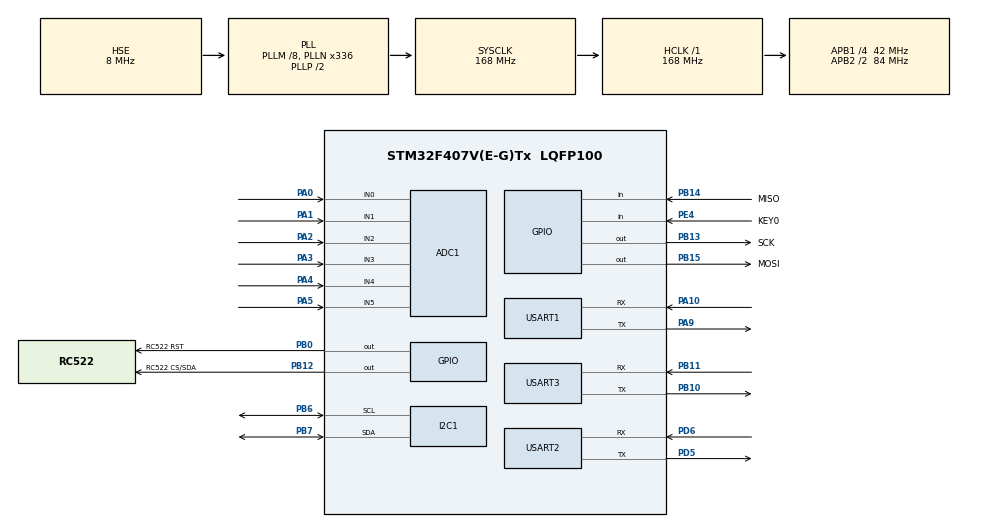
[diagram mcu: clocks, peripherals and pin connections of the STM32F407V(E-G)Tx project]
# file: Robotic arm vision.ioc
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ADC1.Channel-1\#ChannelRegularConversion=ADC_CHANNEL_0
ADC1.Channel-10\#ChannelRegularConversion=ADC_CHANNEL_4
ADC1.Channel-11\#ChannelRegularConversion=ADC_CHANNEL_5
ADC1.Channel-7\#ChannelRegularConversion=ADC_CHANNEL_1
ADC1.Channel-8\#ChannelRegularConversion=ADC_CHANNEL_2
ADC1.Channel-9\#ChannelRegularConversion=ADC_CHANNEL_3
ADC1.ContinuousConvMode=ENABLE
ADC1.DMAContinuousRequests=ENABLE
ADC1.EOCSelection=ADC_EOC_SEQ_CONV
ADC1.InjNumberOfConversion=0
ADC1.NbrOfConversion=6
ADC1.NbrOfConversionFlag=1
ADC1.Rank-1\#ChannelRegularConversion=1
ADC1.Rank-10\#ChannelRegularConversion=5
ADC1.Rank-11\#ChannelRegularConversion=6
ADC1.Rank-7\#ChannelRegularConversion=2
ADC1.Rank-8\#ChannelRegularConversion=3
ADC1.Rank-9\#ChannelRegularConversion=4
ADC1.SamplingTime-1\#ChannelRegularConversion=ADC_SAMPLETIME_84CYCLES
ADC1.SamplingTime-10\#ChannelRegularConversion=ADC_SAMPLETIME_84CYCLES
ADC1.SamplingTime-11\#ChannelRegularConversion=ADC_SAMPLETIME_84CYCLES
ADC1.SamplingTime-7\#ChannelRegularConversion=ADC_SAMPLETIME_84CYCLES
ADC1.SamplingTime-8\#ChannelRegularConversion=ADC_SAMPLETIME_84CYCLES
ADC1.SamplingTime-9\#ChannelRegularConversion=ADC_SAMPLETIME_84CYCLES
ADC1.master=1
Dma.ADC1.0.Direction=DMA_PERIPH_TO_MEMORY
Dma.ADC1.0.FIFOMode=DMA_FIFOMODE_DISABLE
Dma.ADC1.0.Instance=DMA2_Stream0
Dma.ADC1.0.MemDataAlignment=DMA_MDATAALIGN_HALFWORD
Dma.ADC1.0.MemInc=DMA_MINC_ENABLE
Dma.ADC1.0.Mode=DMA_CIRCULAR
Dma.ADC1.0.PeriphDataAlignment=DMA_PDATAALIGN_HALFWORD
Dma.ADC1.0.PeriphInc=DMA_PINC_DISABLE
Dma.ADC1.0.Priority=DMA_PRIORITY_LOW
Dma.Request0=ADC1
Mcu.Family=STM32F4
Mcu.Name=STM32F407V(E-G)Tx
Mcu.Package=LQFP100
NVIC.DMA2_Stream0_IRQn=true\:5\:0\:false\:false\:true\:true\:false\:true\:true
NVIC.PriorityGroup=NVIC_PRIORITYGROUP_4
NVIC.TIM6_DAC_IRQn=true\:15\:0\:false\:false\:true\:false\:false\:true\:true
NVIC.TimeBase=TIM6_DAC_IRQn
NVIC.TimeBaseIP=TIM6
PA0-WKUP.Signal=ADCx_IN0
PA1.Signal=ADCx_IN1
PA10.Mode=Asynchronous
PA10.Signal=USART1_RX
PA13.Mode=Serial_Wire
PA13.Signal=SYS_JTMS-SWDIO
PA14.Mode=Serial_Wire
PA14.Signal=SYS_JTCK-SWCLK
PA2.Signal=ADCx_IN2
PA3.Signal=ADCx_IN3
PA4.Signal=ADCx_IN4
PA5.Signal=ADCx_IN5
PA9.Mode=Asynchronous
PA9.Signal=USART1_TX
PB0.GPIO_Label=RC522 RST
PB0.Signal=GPIO_Output
PB10.Mode=Asynchronous
PB10.Signal=USART3_TX
PB11.Mode=Asynchronous
PB11.Signal=USART3_RX
PB12.GPIO_Label=RC522 CS/SDA
PB12.Signal=GPIO_Output
PB13.GPIO_Label=SCK
PB13.Signal=GPIO_Output
PB14.GPIO_Label=MISO
PB14.Signal=GPIO_Input
PB15.GPIO_Label=MOSI
PB15.Signal=GPIO_Output
PB6.Mode=I2C
PB6.Signal=I2C1_SCL
PB7.Mode=I2C
PB7.Signal=I2C1_SDA
PD5.Mode=Asynchronous
PD5.Signal=USART2_TX
PD6.Mode=Asynchronous
PD6.Signal=USART2_RX
PE4.GPIO_Label=KEY0
PE4.GPIO_PuPd=GPIO_PULLUP
PE4.Signal=GPIO_Input
PH0-OSC_IN.Mode=HSE-External-Oscillator
PH0-OSC_IN.Signal=RCC_OSC_IN
PH1-OSC_OUT.Mode=HSE-External-Oscillator
PH1-OSC_OUT.Signal=RCC_OSC_OUT
ProjectManager.HeapSize=0x200
ProjectManager.StackSize=0x400
ProjectManager.TargetToolchain=MDK-ARM V5
RCC.48MHZClocksFreq_Value=84000000
RCC.AHBFreq_Value=168000000
RCC.APB1CLKDivider=RCC_HCLK_DIV4
RCC.APB1Freq_Value=42000000
RCC.APB1TimFreq_Value=84000000
RCC.APB2CLKDivider=RCC_HCLK_DIV2
RCC.APB2Freq_Value=84000000
RCC.APB2TimFreq_Value=168000000
RCC.CortexFreq_Value=168000000
RCC.HCLKFreq_Value=168000000
RCC.HSE_VALUE=8000000
RCC.HSI_VALUE=16000000
RCC.LSE_VALUE=32768
RCC.PLLM=8
RCC.PLLN=336
RCC.PLLSourceVirtual=RCC_PLLSOURCE_HSE
RCC.SYSCLKFreq_VALUE=168000000
RCC.SYSCLKSource=RCC_SYSCLKSOURCE_PLLCLK
RCC.VCOOutputFreq_Value=336000000
SH.ADCx_IN0.0=ADC1_IN0,IN0
SH.ADCx_IN1.0=ADC1_IN1,IN1
SH.ADCx_IN2.0=ADC1_IN2,IN2
SH.ADCx_IN3.0=ADC1_IN3,IN3
SH.ADCx_IN4.0=ADC1_IN4,IN4
SH.ADCx_IN5.0=ADC1_IN5,IN5
USART1.VirtualMode=VM_ASYNC
USART2.VirtualMode=VM_ASYNC
USART3.VirtualMode=VM_ASYNC
VP_FREERTOS_VS_CMSIS_V2.Mode=CMSIS_V2
VP_SYS_VS_tim6.Mode=TIM6
board=custom

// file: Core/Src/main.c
/* USER CODE BEGIN Header */
/**
  ******************************************************************************
  * @file           : main.c
  * @brief          : STM32F407 + PCA9685 机械臂控制
  *                   6 路 WH148 电位器 -> 6 路舵机，20ms 平滑更新
  ******************************************************************************
  */
/* USER CODE END Header */
#include "main.h"
#include "cmsis_os.h"
#include "adc.h"
#include "dma.h"
#include "i2c.h"
#include "usart.h"
#include "gpio.h"

/* USER CODE BEGIN Includes */
#include "pca9685.h"
#include "potentiometer.h"
#include "arm_control.h"
#include "uart_protocol.h"
#include "bt.h"
#include "wifi.h"
#include "teach.h"
#include "rfid.h"
#include <stdio.h>
#include <string.h>
/* USER CODE END Includes */

/* USER CODE BEGIN PV */
/* 注：原主循环的运动/打印任务及共用状态变量已迁移到 freertos.c 的各任务中。
 * 这里保留初始化相关量（如果需要）。 */
/* USER CODE END PV */

void SystemClock_Config(void);
void MX_FREERTOS_Init(void);

int main(void)
{

  /* MCU Configuration--------------------------------------------------------*/

  /* Reset of all peripherals, Initializes the Flash interface and the Systick. */
  HAL_Init();

  /* Configure the system clock */
  SystemClock_Config();

  /* Initialize all configured peripherals */
  MX_GPIO_Init();
  MX_DMA_Init();
  MX_I2C1_Init();
  MX_USART1_UART_Init();
  MX_USART2_UART_Init();
  MX_USART3_UART_Init();
  MX_ADC1_Init();
  /* USER CODE BEGIN 2 */
  if (PCA9685_Init(&hi2c1) != HAL_OK)
  {
    printf("PCA9685 init failed\r\n");
    Error_Handler();
  }

  /* 控制核心：计算 HOME 位并上电输出安全位 */
  Arm_Init();

  /* 电位器 DMA 采样启动并预热滑动窗口 */
  Pot_Init(&hadc1);

  /* UART 指令协议：使能串口中断接收（USART1=PC/OrangePi，USART2=蓝牙，USART3=WiFi） */
  UartProto_Init(&huart1);
  BT_Init(&huart2);
  WIFI_Init(&huart3);

  /* RC522 射频卡：初始化 GPIO 软件 SPI（版本校验失败会打印但不阻塞后续流程） */
  if (RFID_Init() == HAL_OK)
  {
    printf("RC522 RFID init OK\r\n");
  }
  else
  {
    printf("RC522 RFID init FAILED (check wiring/PB0,PB12~PB15)\r\n");
  }

  /* 示教回放模块：清空轨迹缓冲 */
  Teach_Init();

  printf("Robot arm ready. Hold HOME (idle, wait CMD).\r\n");
  printf("Protocol: $CMD*ck\\r\\n (PING/STATE/HOME/STOP/RESUME/MANUAL/MOVE/JOINT/REC/RECEND/PLAY/TNUM/CLEAR)\r\n");

  /* 注：此后交由 FreeRTOS 调度器接管。
   * 原 20ms 舵机任务 / 5ms 协议任务 / 3000ms 打印任务 见 freertos.c。 */
  /* USER CODE END 2 */

  /* Init scheduler */
  osKernelInitialize();  /* Call init function for freertos objects (in cmsis_os2.c) */
  MX_FREERTOS_Init();

  /* Start scheduler */
  osKernelStart();

  /* We should never get here as control is now taken by the scheduler */

  /* Infinite loop */
  while (1)
  {

    /* USER CODE BEGIN 3 */
    /* 控制已移交 FreeRTOS 调度器（osKernelStart 后永不返回），
     * 主循环仅作空转占位。具体任务见 freertos.c：
     *   - StartServoTask   20ms 舵机/按键/示教/刷卡
     *   - StartProtocolTask   5ms 串口协议响应
     *   - StartPrintTask   3000ms 状态打印 */
  }
  /* USER CODE END 3 */
}

void SystemClock_Config(void)
{
  RCC_OscInitTypeDef RCC_OscInitStruct = {0};
  RCC_ClkInitTypeDef RCC_ClkInitStruct = {0};

  /** Configure the main internal regulator output voltage
  */
  __HAL_RCC_PWR_CLK_ENABLE();
  __HAL_PWR_VOLTAGESCALING_CONFIG(PWR_REGULATOR_VOLTAGE_SCALE1);

  /** Initializes the RCC Oscillators according to the specified parameters
  * in the RCC_OscInitTypeDef structure.
  */
  RCC_OscInitStruct.OscillatorType = RCC_OSCILLATORTYPE_HSE;
  RCC_OscInitStruct.HSEState = RCC_HSE_ON;
  RCC_OscInitStruct.PLL.PLLState = RCC_PLL_ON;
  RCC_OscInitStruct.PLL.PLLSource = RCC_PLLSOURCE_HSE;
  RCC_OscInitStruct.PLL.PLLM = 8;
  RCC_OscInitStruct.PLL.PLLN = 336;
  RCC_OscInitStruct.PLL.PLLP = RCC_PLLP_DIV2;
  RCC_OscInitStruct.PLL.PLLQ = 4;
  if (HAL_RCC_OscConfig(&RCC_OscInitStruct) != HAL_OK)
  {
    Error_Handler();
  }

  /** Initializes the CPU, AHB and APB buses clocks
  */
  RCC_ClkInitStruct.ClockType = RCC_CLOCKTYPE_HCLK|RCC_CLOCKTYPE_SYSCLK
                              |RCC_CLOCKTYPE_PCLK1|RCC_CLOCKTYPE_PCLK2;
  RCC_ClkInitStruct.SYSCLKSource = RCC_SYSCLKSOURCE_PLLCLK;
  RCC_ClkInitStruct.AHBCLKDivider = RCC_SYSCLK_DIV1;
  RCC_ClkInitStruct.APB1CLKDivider = RCC_HCLK_DIV4;
  RCC_ClkInitStruct.APB2CLKDivider = RCC_HCLK_DIV2;

  if (HAL_RCC_ClockConfig(&RCC_ClkInitStruct, FLASH_LATENCY_5) != HAL_OK)
  {
    Error_Handler();
  }
}

/* USER CODE BEGIN 4 */
//printf输出重定向
int fputc(int ch, FILE *f)
{
    HAL_UART_Transmit(
        &huart1,
        (uint8_t *)&ch,
        1,
        HAL_MAX_DELAY
    );
    return ch;
}
/* USER CODE END 4 */

void HAL_TIM_PeriodElapsedCallback(TIM_HandleTypeDef *htim)
{
  if (htim->Instance == TIM6)
  {
    HAL_IncTick();
  }
}

void Error_Handler(void)
{
  __disable_irq();
  while (1)
  {
  }
}

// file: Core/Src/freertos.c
/* USER CODE BEGIN Header */
/**
  ******************************************************************************
  * File Name          : freertos.c
  * Description        : Code for freertos applications
  ******************************************************************************
  * @attention
  *
  * Copyright (c) 2026 STMicroelectronics.
  * All rights reserved.
  *
  * This software is licensed under terms that can be found in the LICENSE file
  * in the root directory of this software component.
  * If no LICENSE file comes with this software, it is provided AS-IS.
  *
  ******************************************************************************
  */
/* USER CODE END Header */

#include "FreeRTOS.h"
#include "task.h"
#include "main.h"
#include "cmsis_os.h"

/* USER CODE BEGIN Includes */
#include "pca9685.h"
#include "potentiometer.h"
#include "arm_control.h"
#include "uart_protocol.h"
#include "bt.h"
#include "wifi.h"
#include "teach.h"
#include "rfid.h"
#include <stdio.h>
#include <string.h>

/*
 * 特别注意：本文件里"任务相关的一切"（句柄、属性、创建、函数定义）都放在
 * USER CODE 保护块内。因为这些任务没有登记到 .ioc（只有 CubeMX 模板自带的
 * defaultTask 在 .ioc 里），若放在保护块外，重新生成时会被 CubeMX 当成未知
 * 内容删除。放在保护块内则 CubeMX 永远不会触碰。以后每次重新生成都安全。
 */
/* USER CODE END Includes */

/* USER CODE BEGIN Variables */
/* 共享给任务组件的状态变量（原裸机 main.c 主循环静态量） */
static Pot_Data_t pot;

/* KEY0(PE4) 按键：低有效，软件消抖状态 */
static uint8_t key0_prev   = 1;   /* 上一次消抖电平(弹起=1) */
static uint8_t key0_count  = 0;   /* 连续采样计数 */
static uint8_t key0_active = 0;   /* 本次按下是否已处理 */

/* huart1 访问互斥（print_lock）：
 * - ServoTask 的 KEY0/RFID 事件打印、PrintTask 的周期状态打印（printf 走 huart1）；
 * - ProtocolTask 发回 PC 的协议响应帧（目标为 USART1 时）。
 * 三者互斥，保证 PC 串口上响应帧与打印消息不会按字符交错。 */
osMutexId_t print_lock;
const osMutexAttr_t print_mutex_attributes = {
  .name = "printLock"
};

/* 机械臂状态互斥（arm_lock）：arm_state、target_pulse、current_pulse、teach 等
 * 状态被 ServoTask（运动/Teach_Tick）与 ProtocolTask（命令处理）并发访问，
 * 所有 Arm 与 Teach 接口调用点都在锁内执行。锁独立获取、不与 print_lock
 * 嵌套，无死锁。 */
osMutexId_t arm_lock;
const osMutexAttr_t arm_mutex_attributes = {
  .name = "armLock"
};

/* ---- 机械臂三个任务的句柄与属性（全在 USER CODE 内，重新生成被保留） ---- */
osThreadId_t ServoTaskHandle;
const osThreadAttr_t ServoTask_attributes = {
  .name = "ServoTask",
  .stack_size = 1024 * 4,
  .priority = (osPriority_t) osPriorityHigh,
};

osThreadId_t ProtocolTaskHandle;
const osThreadAttr_t ProtocolTask_attributes = {
  .name = "ProtocolTask",
  .stack_size = 512 * 4,
  .priority = (osPriority_t) osPriorityNormal,
};

osThreadId_t PrintTaskHandle;
const osThreadAttr_t PrintTask_attributes = {
  .name = "PrintTask",
  .stack_size = 512 * 4,
  .priority = (osPriority_t) osPriorityLow,
};
/* USER CODE END Variables */

/* USER CODE BEGIN FunctionPrototypes */
void StartServoTask(void *argument);
void StartProtocolTask(void *argument);
void StartPrintTask(void *argument);
/* USER CODE END FunctionPrototypes */

void MX_FREERTOS_Init(void); /* (MISRA C 2004 rule 8.1) */

void MX_FREERTOS_Init(void) {

  /* USER CODE BEGIN RTOS_MUTEX */
  /* add mutexes, ... */
  print_lock = osMutexNew(&print_mutex_attributes);
  arm_lock   = osMutexNew(&arm_mutex_attributes);
  /* USER CODE END RTOS_MUTEX */

  /* Create the thread(s) */
  /* USER CODE BEGIN RTOS_THREADS */
  /* add threads, ... */
  ServoTaskHandle   = osThreadNew(StartServoTask,   NULL, &ServoTask_attributes);
  ProtocolTaskHandle = osThreadNew(StartProtocolTask, NULL, &ProtocolTask_attributes);
  PrintTaskHandle   = osThreadNew(StartPrintTask,   NULL, &PrintTask_attributes);
  /* USER CODE END RTOS_THREADS */

}

/* USER CODE BEGIN Application */

/**
  * @brief  机械臂运动控制任务：20ms 固定周期。
  *         内容为原裸机主循环中的 20ms 块。优先级最高，保证即使协议任务在
  *         阻塞发送串口响应时也不会拖延舵机更新。
  * @param  argument: Not used
  */
void StartServoTask(void *argument)
{
  for(;;)
  {
    /* ===== KEY0 按键：切换 手动/回HOME（20ms 周期软件消抖） ===== */
    {
      uint8_t key0 = HAL_GPIO_ReadPin(GPIOE, GPIO_PIN_4);

      /* 连续 2 次(40ms)采样一致才认定电平稳定 */
      if (key0 == key0_prev)
      {
        if (key0_count < 2) key0_count++;
      }
      else
      {
        key0_count = 0;
        key0_prev = key0;
      }

      /* 下降沿(按下)触发一次切换；弹起后才允许下次触发 */
      if (key0 == 0 && key0_count == 2 && key0_active == 0)
      {
        key0_active = 1;
        osMutexAcquire(arm_lock, osWaitForever);
        if (Arm_GetState() == ARM_STATE_MANUAL)
        {
          Arm_CommandHome();
          osMutexRelease(arm_lock);
          osMutexAcquire(print_lock, osWaitForever);
          printf("KEY0: -> HOME\r\n");
          osMutexRelease(print_lock);
        }
        else if (Arm_GetState() == ARM_STATE_CMD)
        {
          Arm_CommandManual();
          osMutexRelease(arm_lock);
          osMutexAcquire(print_lock, osWaitForever);
          printf("KEY0: -> MANUAL\r\n");
          osMutexRelease(print_lock);
        }
        else
        {
          osMutexRelease(arm_lock);
        }
        /* 急停/示教态不响应，保持安全 */
      }
      else if (key0 == 1 && key0_count == 2)
      {
        key0_active = 0;   /* 弹起，允许下次触发 */
      }
    }

    /* 手动/示教记录态下，电位器作为目标输入 */
    osMutexAcquire(arm_lock, osWaitForever);
    if (Arm_GetState() == ARM_STATE_MANUAL || Arm_GetState() == ARM_STATE_RECORD)
    {
      Pot_ReadAll(&pot);
      Arm_SetManualTargets(&pot);
    }
    osMutexRelease(arm_lock);

    /* 示教记录采样 / 回放取点（内部按间隔推进，非记录/回放态无操作） */
    osMutexAcquire(arm_lock, osWaitForever);
    Teach_Tick();
    osMutexRelease(arm_lock);

    /* ===== RC522 刷卡切换模式：检测到卡且上次卡已移开 -> 触发一次 =====
     * 无卡时一次读卡约 20ms，若每拍都查会把 ServoTask 周期拖到 ~40ms、
     * 舵机刷新减半；故分频：每 5 拍(100ms)查一次，刷卡响应仍足够快。 */
    {
      static uint8_t rfid_scan_div = 0U;
      if (rfid_scan_div == 0U)
      {
        RFID_Card_t card;
        static uint8_t rfid_present = 0U;

        if (RFID_CheckCard(&card) == HAL_OK)
        {
          if (rfid_present == 0U)
          {
            rfid_present = 1U;

            static const uint8_t manual_uid[RFID_UID_LEN] = RFID_UID_CARD_MANUAL;
            static const uint8_t home_uid[RFID_UID_LEN]   = RFID_UID_CARD_HOME;

            if (memcmp(card.uid, manual_uid, RFID_UID_LEN) == 0)
            {
              osMutexAcquire(arm_lock, osWaitForever);
              if (Arm_GetState() == ARM_STATE_CMD)
              {
                Arm_CommandManual();
                osMutexRelease(arm_lock);
                osMutexAcquire(print_lock, osWaitForever);
                printf("RFID: -> MANUAL\r\n");
                osMutexRelease(print_lock);
              }
              else
              {
                osMutexRelease(arm_lock);
              }
            }
            else if (memcmp(card.uid, home_uid, RFID_UID_LEN) == 0)
            {
              osMutexAcquire(arm_lock, osWaitForever);
              if (Arm_GetState() == ARM_STATE_MANUAL)
              {
                Arm_CommandHome();
                osMutexRelease(arm_lock);
                osMutexAcquire(print_lock, osWaitForever);
                printf("RFID: -> HOME\r\n");
                osMutexRelease(print_lock);
              }
              else
              {
                osMutexRelease(arm_lock);
              }
            }
          }
        }
        else
        {
          rfid_present = 0U;   /* 卡已移开，允许下次刷卡触发 */
        }
      }
      rfid_scan_div++;
      if (rfid_scan_div >= 5U) rfid_scan_div = 0U;
    }

    /* 平滑过渡并输出（含急停冻结逻辑） */
    osMutexAcquire(arm_lock, osWaitForever);
    Arm_Update();
    osMutexRelease(arm_lock);

    osDelay(20);
  }
}

/**
  * @brief  串口协议后台任务：解析命令帧、发送待发响应、重启串口接收。必须高频运行：
  *         中断只收字节入队，命令解析/执行与发送（含 USART3 WiFi 的 CIPSEND 封装）
  *         全部在本任务完成；发回 huart1 的响应与 printf 共用 print_lock 互斥。
  * @param  argument: Not used
  */
void StartProtocolTask(void *argument)
{
  for(;;)
  {
    UartProto_Process();
    osDelay(5);
  }
}

/**
  * @brief  周期遥测打印任务：每 3000ms 输出一次状态（可用 $LOG,1/$LOG,0 开关）。
  *         先持 arm_lock 读一致的状态/脉宽快照，再持 print_lock 打印，
  *         两把锁先后独立获取（不同时持有），避免与 ServoTask/ProtocolTask 交错。
  * @param  argument: Not used
  */
void StartPrintTask(void *argument)
{
  for(;;)
  {
    osDelay(3000);
    if (UartProto_GetStreamLog())
    {
      uint32_t st;
      uint32_t p0, p1, p2, p3, p4, p5;

      osMutexAcquire(arm_lock, osWaitForever);
      st = (uint32_t)Arm_GetState();
      p0 = (uint32_t)Arm_GetCurrent(0);
      p1 = (uint32_t)Arm_GetCurrent(1);
      p2 = (uint32_t)Arm_GetCurrent(2);
      p3 = (uint32_t)Arm_GetCurrent(3);
      p4 = (uint32_t)Arm_GetCurrent(4);
      p5 = (uint32_t)Arm_GetCurrent(5);
      osMutexRelease(arm_lock);

      osMutexAcquire(print_lock, osWaitForever);
      printf("STATE %u | PULSE %u %u %u %u %u %u\r\n", st, p0, p1, p2, p3, p4, p5);
      osMutexRelease(print_lock);
    }
  }
}

/* USER CODE END Application */
